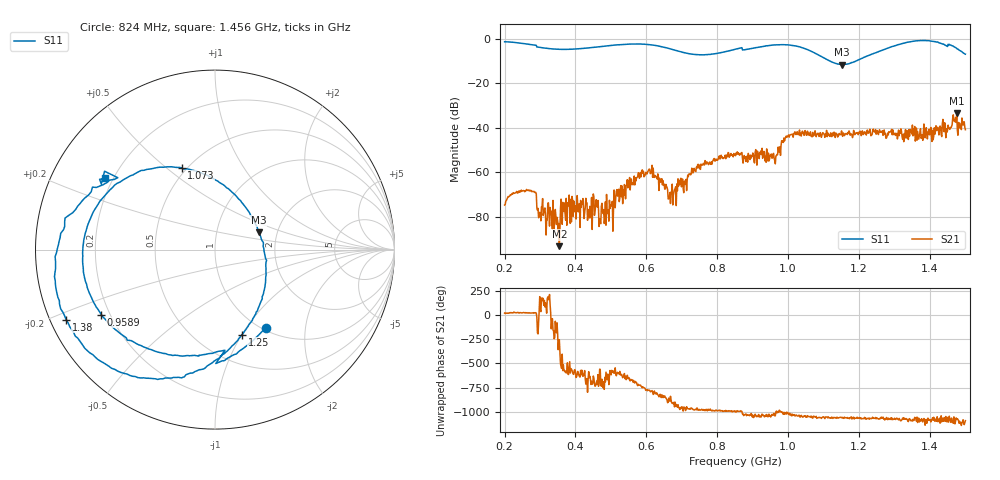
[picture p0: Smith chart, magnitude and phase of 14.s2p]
! NanoVNA-App
! Date: 2024-06-25 16:50:21
! Start: 200MHz Stop: 1.5GHz Points: 801
! S-Parameter data: F S11 S21 S12 S22
# Hz S RI R 50
!  Frequency  S11_Real  S11_Imag  S21_Real  S21_Imag  S12_Real  S12_Imag  S22_Real  S22_Imag
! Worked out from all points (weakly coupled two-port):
!   801 points, 200 MHz to 1.5 GHz, reference 50 ohm
!   highest |S21| = -33.48 dB at 1.476 GHz (marker M1); lowest = -93.2 dB at 354.4 MHz (marker M2)
!   lowest |S11| = -11.6 dB at 1.152 GHz (marker M3), VSWR 1.71, Z = 80 + j16.6 ohm
!   |S11| at or under -10 dB: 1.118 GHz to 1.191 GHz (72.71 MHz wide, 6.3 % of centre)
!   S12 and S22 are empty: the file has one direction only
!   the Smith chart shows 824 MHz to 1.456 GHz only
!   S11 on the Smith chart (normalised r, x): 824 MHz: 1.04, -1.23; 958.9 MHz: 0.17, -0.26; 1.073 GHz: 0.47, +0.56; 1.25 GHz: 0.80, -1.00; 1.38 GHz: 0.05, -0.22; 1.456 GHz: 0.17, +0.29
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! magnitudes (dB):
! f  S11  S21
! 200 MHz  -1.3  -74.7
! 268.2 MHz  -2.5  -68.3
! 297.5 MHz  -3.8  -79.1
! 354.4 MHz  -4.7  -93.2
! 417.8 MHz  -4.3  -73.2
! 487.6 MHz  -3.2  -70.0
! 583.5 MHz  -2.3  -60.1
! 633.9 MHz  -3.2  -62.1
! 668 MHz  -4.5  -74.0
! 824 MHz  -5.7  -53.9
! 850 MHz  -4.7  -52.3
! 958.9 MHz  -2.7  -51.5
! 999.5 MHz  -2.7  -43.6
! 1.068 GHz  -5.8  -44.0
! 1.073 GHz  -6.2  -43.3
! 1.152 GHz  -11.6  -43.3
! 1.25 GHz  -6.1  -42.3
! 1.284 GHz  -4.0  -41.7
! 1.38 GHz  -0.8  -45.6
! 1.456 GHz  -2.7  -40.7
! 1.476 GHz  -4.3  -33.5
! 1.5 GHz  -6.9  -40.8
